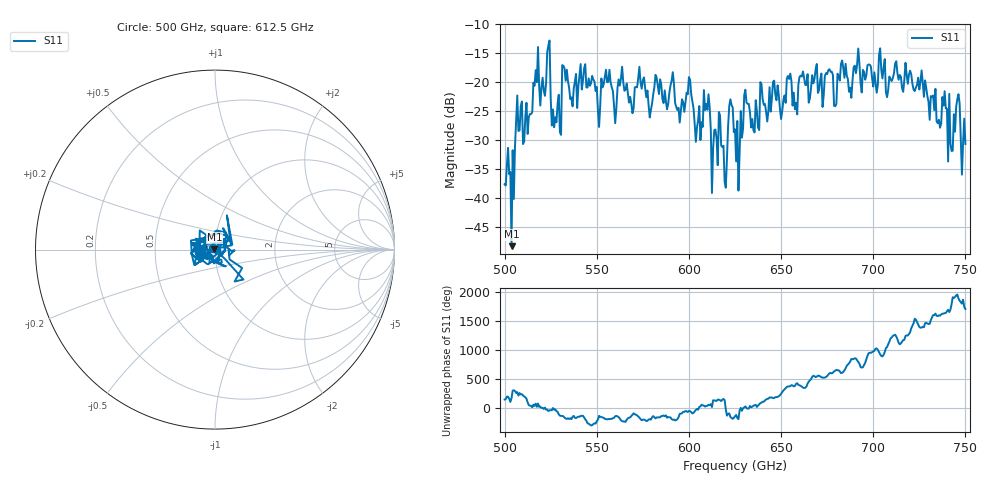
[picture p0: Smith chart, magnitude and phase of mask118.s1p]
!Created with skrf (http://scikit-rf.org).
# GHz S MA R 50.0
!freq magS11 angS11
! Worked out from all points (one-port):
!   401 points, 500 GHz to 750 GHz, reference 50 ohm
!   lowest |S11| = -48.3 dB at 503.8 GHz (marker M1), VSWR 1.01, Z = 49.6 + j0.125 ohm
!   |S11| at or under -10 dB: start of sweep to end of sweep
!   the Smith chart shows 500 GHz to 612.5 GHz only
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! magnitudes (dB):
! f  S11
! 500 GHz  -37.6
! 503.8 GHz  -48.3
! 507.5 GHz  -28.4
! 513.8 GHz  -25.5
! 516.9 GHz  -17.9
! 520.6 GHz  -19.2
! 523.8 GHz  -13.6
! 526.9 GHz  -27.8
! 531.2 GHz  -17.0
! 532.5 GHz  -17.6
! 550.6 GHz  -24.8
! 562.5 GHz  -20.6
! 568.8 GHz  -23.7
! 590.6 GHz  -19.7
! 593.8 GHz  -24.8
! 600 GHz  -19.1
! 605 GHz  -26.6
! 609.4 GHz  -23.8
! 619.4 GHz  -37.2
! 622.5 GHz  -22.9
! 625 GHz  -28.1
! 628.1 GHz  -25.0
! 631.2 GHz  -23.5
! 634.4 GHz  -26.4
! 656.2 GHz  -24.0
! 687.5 GHz  -20.9
! 718.8 GHz  -20.3
! 750 GHz  -30.7
